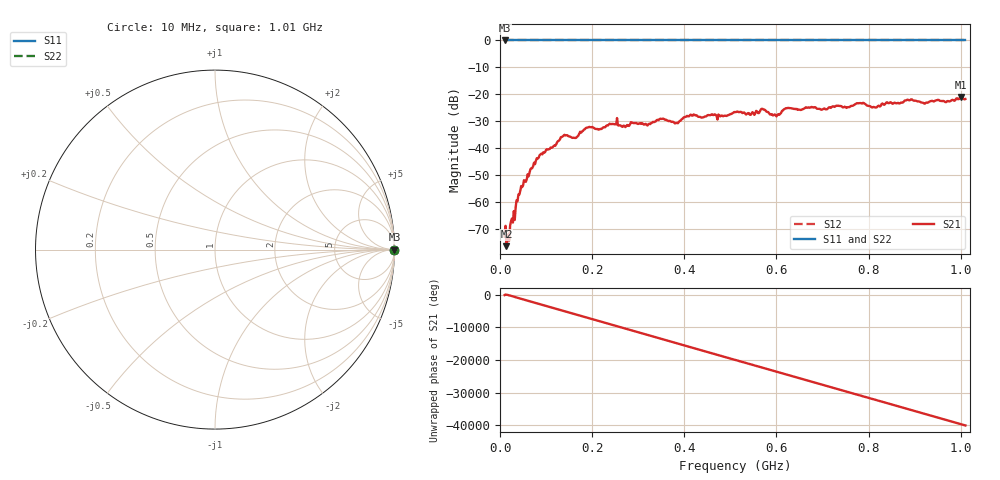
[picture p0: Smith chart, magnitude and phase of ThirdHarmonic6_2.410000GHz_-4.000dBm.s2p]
! 8/17/2025 4:02:05 AM
! C:\ANRITSUVNA\TEMP\TEMP.S2P
! CHANNEL.1
! TR.MEASUREMENT
! RAW.DATA
! RF.CORRECTION.OFF
! AVERAGING.OFF
! IF.BANDWIDTH: 5KHZ
! SWEEPTYPE:  FREQ.SWEEP(Linear)
! Reference Plane Port Info
! PORT:  PORT1  PORT2
! DISTANCE:  0  m  0  m
! TIME:  0  s  0  s
! PHASE.OFFSET:  0  deg.  0  deg.
! LOSS:  0  dB  0  dB
! REF.LOSS:  0  dB  0  dB
! REF.FREQ:  0  Hz  0  Hz
! Power Info
! POWER:  -20  dBm  -20  dBm
! EFF.POWER:  -20  dBm  -20  dBm
! SOURCE.ATTEN:  0  dB  0  dB
! TEST.ATTEN:  0  dB  0  dB
# GHZ S RI R 50.0
! FREQ.GHZ  S11RE  S11IM  S21RE  S21IM  S12RE  S12IM  S22RE  S22IM
!; PortSelection: Port_12
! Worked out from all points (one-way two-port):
!   501 points, 10 MHz to 1.01 GHz, reference 50 ohm
!   highest |S21| = -20.98 dB at 1 GHz (marker M1); lowest = -76.3 dB at 14 MHz (marker M2)
!   lowest |S11| = 0.0 dB at 10 MHz (marker M3)
!   |S11| at or under -10 dB: nowhere
!   |S22| runs from 0.0 to 0.0 dB; largest |S21 - S12| = 1.1
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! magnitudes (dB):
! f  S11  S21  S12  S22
! 10 MHz  0.0  -72.7  0.0  0.0
! 14 MHz  0.0  -76.3  0.0  0.0
! 18 MHz  0.0  -71.8  0.0  0.0
! 26 MHz  0.0  -66.0  0.0  0.0
! 48 MHz  0.0  -54.4  0.0  0.0
! 82 MHz  0.0  -43.8  0.0  0.0
! 136 MHz  0.0  -35.6  0.0  0.0
! 162 MHz  0.0  -36.1  0.0  0.0
! 178 MHz  0.0  -33.8  0.0  0.0
! 344 MHz  0.0  -29.5  0.0  0.0
! 382 MHz  0.0  -30.6  0.0  0.0
! 416 MHz  0.0  -27.8  0.0  0.0
! 510 MHz  0.0  -26.5  0.0  0.0
! 570 MHz  0.0  -25.4  0.0  0.0
! 598 MHz  0.0  -27.6  0.0  0.0
! 622 MHz  0.0  -25.1  0.0  0.0
! 678 MHz  0.0  -24.7  0.0  0.0
! 784 MHz  0.0  -23.3  0.0  0.0
! 812 MHz  0.0  -24.7  0.0  0.0
! 844 MHz  0.0  -23.3  0.0  0.0
! 1 GHz  0.0  -21.0  0.0  0.0
! 1.01 GHz  0.0  -21.7  0.0  0.0
